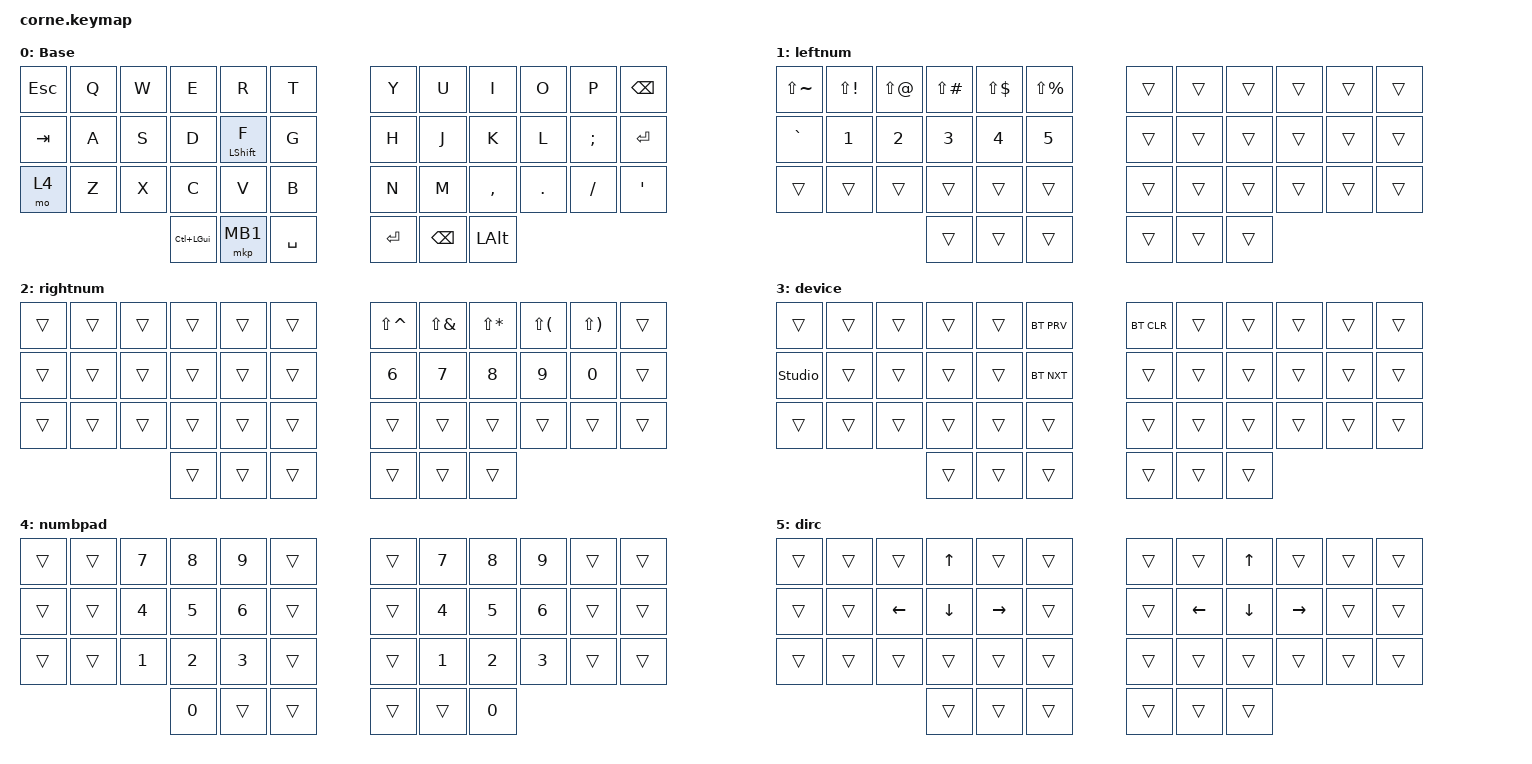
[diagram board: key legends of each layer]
#include <behaviors.dtsi>
#include <dt-bindings/zmk/bt.h>
#include <dt-bindings/zmk/keys.h>
#include <dt-bindings/zmk/pointing.h>

#define DEF 0
#define NAV 1
#define SYM 2
#define ADJ 3
#define EXTRA 4

/ {
    behaviors {
        hm: homerow_mods {
            compatible = "zmk,behavior-hold-tap";
            label = "HOMEROW_MODS";
            #binding-cells = <2>;
            tapping-term-ms = <200>;
            quick_tap_ms = <0>;
            flavor = "tap-preferred";
            bindings = <&kp>, <&kp>;

            quick-tap-ms = <180>;
            global-quick-tap;
        };

        para: para {
            compatible = "zmk,behavior-tap-dance";
            label = "PARA";
            #binding-cells = <0>;
            bindings = <&kp LEFT_PARENTHESIS>, <&kp RIGHT_PARENTHESIS>;
        };

        caps: caps {
            compatible = "zmk,behavior-caps-word";
            label = "CAPS";
            #binding-cells = <0>;
            continue-list = <MINUS BACKSPACE>;
        };

        paraless: paraless {
            compatible = "zmk,behavior-mod-morph";
            label = "PARALESS";
            bindings = <&kp LEFT_PARENTHESIS>, <&kp LESS_THAN>;

            #binding-cells = <0>;
            mods = <(MOD_LSFT)>;
        };

        paragreat: paragreat {
            compatible = "zmk,behavior-mod-morph";
            label = "PARAGREAT";
            bindings = <&kp RIGHT_PARENTHESIS>, <&kp GREATER_THAN>;

            #binding-cells = <0>;
            mods = <(MOD_LSFT)>;
        };
    };

    combos {
        compatible = "zmk,combos";

        escape {
            bindings = <&kp ESCAPE>;
            key-positions = <38 0>;
        };

        delete {
            bindings = <&kp DELETE>;
            key-positions = <38 12>;
        };

        copy {
            bindings = <&kp LG(C)>;
            key-positions = <27 14>;
        };

        paste {
            bindings = <&kp LG(V)>;
            key-positions = <28 14>;
        };

        star {
            bindings = <&kp STAR>;
            key-positions = <8 20>;
        };

        slash {
            bindings = <&kp SLASH>;
            key-positions = <32 20>;
        };

        plus {
            bindings = <&kp PLUS>;
            key-positions = <7 19>;
        };

        minus {
            bindings = <&kp KP_MINUS>;
            key-positions = <31 19>;
        };

        underscore {
            bindings = <&kp UNDER>;
            key-positions = <30 18>;
        };

        leftbrack {
            bindings = <&kp LEFT_BRACKET>;
            key-positions = <31 32>;
        };

        rightbrack {
            bindings = <&kp RIGHT_BRACKET>;
            key-positions = <33 32>;
        };

        ctrlz {
            bindings = <&kp LG(Z)>;
            key-positions = <25 14>;
        };

        all {
            bindings = <&kp LG(A)>;
            key-positions = <14 13>;
        };

        leftnumber {
            bindings = <&mo 1>;
            key-positions = <14 15>;
        };

        rightnumb {
            bindings = <&mo 2>;
            key-positions = <20 21>;
        };

        scrollup {
            bindings = <&msc SCRL_UP>;
            key-positions = <17 5>;
        };

        scrolldown {
            bindings = <&msc SCRL_DOWN>;
            key-positions = <17 29>;
        };
    };

    //

    keymap {
        compatible = "zmk,keymap";

        DEF {
            display-name = "Base";

            // -----------------------------------------------------------------------------------------
            // |  Q  |  W  |  E  |  R  |  T  |   |  Y  |  U   |  I  |  O  |  P  |
            // |  A  |  S  |  D  |  F  |  G  |   |  H  |  J   |  K  |  L  |  ;  |
            // |  Z  |  X  |  C  |  V  |  B  |   |  N  |  M   |  ,  |  .  |  /  |
            // | GUI | CTRL | SHFT | LWR | SPC |   | ENT | RSE  | BKSP | ALT | ESC |

            bindings = <
&kp ESCAPE  &kp Q  &kp W  &kp E             &kp R             &kp T        &kp Y      &kp U          &kp I         &kp O    &kp P     &kp BACKSPACE
&kp TAB     &kp A  &kp S  &kp D             &hm LEFT_SHIFT F  &kp G        &kp H      &kp J          &kp K         &kp L    &kp SEMI  &kp RET
&mo 4       &kp Z  &kp X  &kp C             &kp V             &kp B        &kp N      &kp M          &kp COMMA     &kp DOT  &kp FSLH  &kp SQT
                          &kp LC(LEFT_GUI)  &mkp MB1          &kp SPACE    &kp ENTER  &kp BACKSPACE  &kp LEFT_ALT
            >;
        };

        leftnum {
            bindings = <
&kp LS(TILDE)  &kp LS(EXCL)  &kp LS(AT)  &kp LS(POUND)  &kp LS(DLLR)  &kp LS(PRCNT)    &trans  &trans  &trans  &trans  &trans  &trans
&kp GRAVE      &kp N1        &kp N2      &kp N3         &kp N4        &kp N5           &trans  &trans  &trans  &trans  &trans  &trans
&trans         &trans        &trans      &trans         &trans        &trans           &trans  &trans  &trans  &trans  &trans  &trans
                                         &trans         &trans        &trans           &trans  &trans  &trans
            >;
        };

        rightnum {
            bindings = <
&trans  &trans  &trans  &trans  &trans  &trans    &kp LS(CARET)  &kp LS(AMPS)  &kp LS(STAR)  &kp LS(LPAR)  &kp LS(RPAR)  &trans
&trans  &trans  &trans  &trans  &trans  &trans    &kp N6         &kp N7        &kp N8        &kp N9        &kp N0        &trans
&trans  &trans  &trans  &trans  &trans  &trans    &trans         &trans        &trans        &trans        &trans        &trans
                        &trans  &trans  &trans    &trans         &trans        &trans
            >;
        };

        device {
            bindings = <
&trans          &trans  &trans  &trans  &trans  &bt BT_PRV    &bt BT_CLR  &trans  &trans  &trans  &trans  &trans
&studio_unlock  &trans  &trans  &trans  &trans  &bt BT_NXT    &trans      &trans  &trans  &trans  &trans  &trans
&trans          &trans  &trans  &trans  &trans  &trans        &trans      &trans  &trans  &trans  &trans  &trans
                                &trans  &trans  &trans        &trans      &trans  &trans
            >;
        };

        numbpad {
            bindings = <
&trans  &trans  &kp N7  &kp N8  &kp N9  &trans    &trans  &kp N7  &kp N8  &kp N9  &trans  &trans
&trans  &trans  &kp N4  &kp N5  &kp N6  &trans    &trans  &kp N4  &kp N5  &kp N6  &trans  &trans
&trans  &trans  &kp N1  &kp N2  &kp N3  &trans    &trans  &kp N1  &kp N2  &kp N3  &trans  &trans
                        &kp N0  &trans  &trans    &trans  &trans  &kp N0
            >;
        };

        dirc {
            bindings = <
&trans  &trans  &trans    &kp UP_ARROW    &trans     &trans    &trans  &trans    &kp UP_ARROW    &trans     &trans  &trans
&trans  &trans  &kp LEFT  &kp DOWN_ARROW  &kp RIGHT  &trans    &trans  &kp LEFT  &kp DOWN_ARROW  &kp RIGHT  &trans  &trans
&trans  &trans  &trans    &trans          &trans     &trans    &trans  &trans    &trans          &trans     &trans  &trans
                          &trans          &trans     &trans    &trans  &trans    &trans
            >;
        };
    };

    conditional_layers {
        compatible = "zmk,conditional-layers";

        l3 {
            if-layers = <1 2>;
            then-layer = <3>;
        };
    };
};
